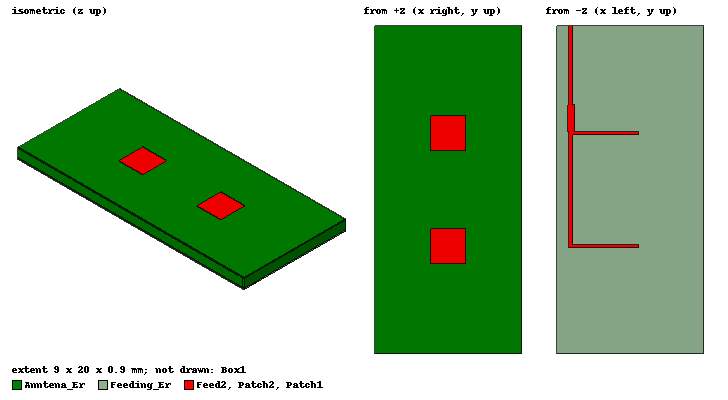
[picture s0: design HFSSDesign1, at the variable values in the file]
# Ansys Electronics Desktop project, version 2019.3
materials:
  vacuum: permittivity=1
  Rogers RO4003 (tm): permittivity=3.55 dielectric_loss_tangent=0.0027
  Isola TerraGreen (R): permittivity=3.44 dielectric_loss_tangent=0.0039
  air: permittivity=1.0006 permeability=1.0000004

design HFSSDesign1 (HFSS, DrivenModal, model units mm)
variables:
  h_S_Anntena = 0.8mm
  L_S_Anntena = L_S_Feed+2mm
  W_S_Anntena = 20mm
  W_Patch = 2.133mm
  L_Patch = 2.133mm
  Spacing = 4.77mm
  h_S_Feeding = 0.1mm
  W_Slot = 2.091mm
  L_Slot = 0.15mm
  SlotX = L_Patch/2-L_Slot/2
  SlotY = W_Patch/2-W_Slot/2+0.021mm
  L_S_Feed = 7mm
  W_Feed = 0.22mm  # optimise 0.1175mm..0.3525mm
  W_Feed_Lamda = 0.391mm
  L_Feed_Lamda = 1.6mm
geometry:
  Anntena_Er [Isola TerraGreen (R)] = box(corner=(-L_S_Anntena/2, -W_S_Anntena/2, 0mm), size=(L_S_Anntena, W_S_Anntena, h_S_Anntena))
  Patch1 = rectangle(corner=(-L_Patch/2, Spacing/2, h_S_Anntena), x_size=L_Patch, y_size=W_Patch)
  Ground = rectangle(corner=(-L_S_Anntena/2, -W_S_Anntena/2, 0mm), x_size=L_S_Anntena, y_size=W_S_Anntena)
  Feeding_Er [Isola TerraGreen (R)] = box(corner=(-L_S_Anntena/2, -W_S_Anntena/2, 0mm), size=(L_S_Anntena, W_S_Anntena, -h_S_Feeding))
  Slot = rectangle(corner=(-L_Patch/2+SlotX, Spacing/2+SlotY/2, 0mm), x_size=L_Slot, y_size=W_Slot)
  Ground.subtract(Slot)
  Feed1 = rectangle(corner=(-0.5mm, Spacing/2+W_Patch/2-W_Feed/2, -h_S_Feeding), x_size=L_S_Feed/2+0.5mm, y_size=W_Feed)
  Box1 [air] = box(corner=(-L_S_Anntena/2-2mm, -W_S_Anntena/2-2mm, -2.5mm), size=(L_S_Anntena+4mm, W_S_Anntena+4mm, 5mm))
  Feed2 = rectangle(corner=(-0.5mm, -Spacing/2-W_Patch/2-W_Feed/2, -h_S_Feeding), x_size=L_S_Feed/2+0.5mm, y_size=W_Feed)
  Patch2 = rectangle(corner=(-L_Patch/2, -Spacing/2-W_Patch, h_S_Anntena), x_size=L_Patch, y_size=W_Patch)
  Slot1 = rectangle(corner=(-L_Patch/2+SlotX, -Spacing/2+SlotY/2 -W_Patch, 0mm), x_size=L_Slot, y_size=W_Slot)
  Ground.subtract(Slot1)
  Feed_Cross = rectangle(corner=(L_S_Feed/2, -Spacing/2-W_Patch/2-W_Feed/2, -h_S_Feeding), x_size=W_Feed, y_size=Spacing/2+W_Patch/2+W_Feed/2+W_S_Anntena/2)
  Feed2.unite(Feed1, Feed_Cross)
  LamdaBy4 = rectangle(corner=(L_S_Feed/2-W_Feed_Lamda +0.3mm, Spacing/2+W_Patch/2+W_Feed/2, -h_S_Feeding), x_size=W_Feed_Lamda, y_size=L_Feed_Lamda)
  Port1 = rectangle(corner=(L_S_Feed/2+W_Feed, W_S_Anntena/2, -h_S_Feeding), z_size=h_S_Feeding, x_size=-W_Feed)
  Feed2.unite(LamdaBy4)
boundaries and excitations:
  PerfE1: Perfect E Objects=Patch1
  Rad1: Radiation Objects=Box1
  PerfE2: Perfect E Objects=Feed2
  PerfE3: Perfect E Objects=Patch2
  PerfE4: Perfect E Objects=Ground
  1: Lumped Port Objects=Port1 Modes{Mode1{IntLine{middle of Port1.edge(z at corner) -> middle of Port1.edge(z opposite corner)} CharImp=Zpi RenormImp=50ohm}} Impedance=50ohm
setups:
  Setup1: HfssDriven Frequency=26GHz MaxDeltaS=0.02 MaximumPasses=6 MinimumPasses=1 MinimumConvergedPasses=1 PercentRefinement=30 BasisOrder=1 PortAccuracy=2
    sweep Sweep: 20GHz to 40GHz, 250 points; Type=Fast SaveFields
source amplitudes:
  1:1: 1W 0deg
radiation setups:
  Infinite Sphere1: Infinite Sphere Theta=-180deg..180deg step 4deg Phi=0deg..360deg step 4deg
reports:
  S Parameter Plot 1: dB(S(1,1)) vs Freq on Setup1 : Sweep; markers MX1 at x=2.6107553e+10, MX2 at x=2.5996569e+10, MY1 at y=-10.2857
  Gain Plot 1: GainTotal vs Phi, Theta on Setup1 : LastAdaptive, Infinite Sphere1 [Freq=26GHz]
  Gain Plot 2: GainTotal vs Theta on Setup1 : LastAdaptive, Infinite Sphere1 [Phi=0deg Freq=26GHz]
  Gain Plot 3: dB(GainTotal) vs Theta on Setup1 : LastAdaptive, Infinite Sphere1 [Phi=0deg Freq=26GHz]
  Axial Ratio Plot 1: mag(AxialRatioValue) vs Theta on Setup1 : LastAdaptive, Infinite Sphere1 [Phi=0deg Freq=26GHz]
  Polarization Ratio Plot 1: mag(PolarizationRatioCircularLHCP) vs Theta on Setup1 : LastAdaptive, Infinite Sphere1 [Phi=0deg Freq=26GHz]
